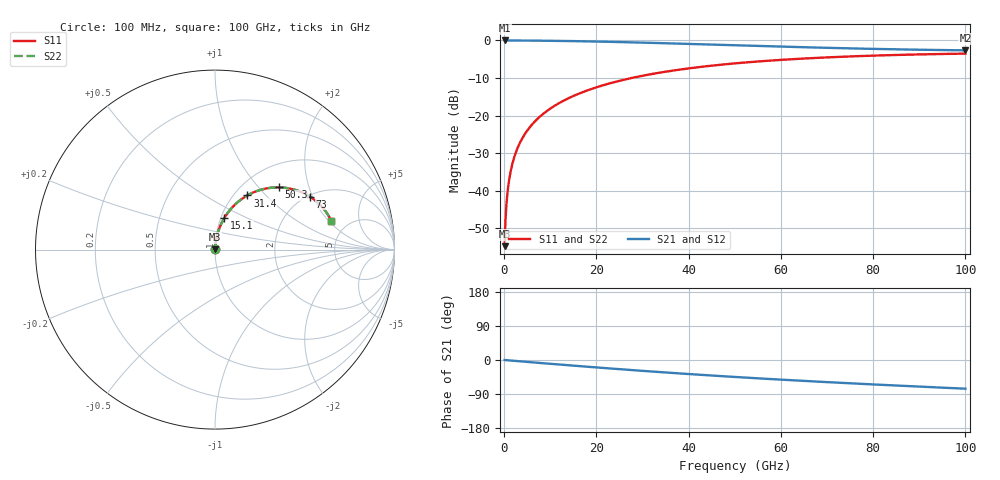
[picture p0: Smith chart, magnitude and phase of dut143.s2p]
! Touchstone file exported from HFSS 2026.1.0
!  File:  C:/ffzhzh/LocalFiles/Ansys_Project_Files/temp_train_RDL_143_1783499793_44152.aedt
!  Generated:  04:37:40 PM Jul  8, 2026
!  Design:  RDL
!  Project:  temp_train_RDL_143_1783499793_44152
! Variables:
!  h_bsmrdl = 2um
!  h_ox = 20um
!  h_rdl = 5um
!  h_sub = 80um
!  h_tmrdl = 4.14um
!  h_tsv = 80um
!  h_via = 3um
!  l_bsmrdl = 300um
!  l_sub = 610.83um
!  l_tmrdl = 210.83um
!  m_sub = 200um
!  pitch = 55.77um
!  r_tsv = 6um
!  s_tmrdl = 10um
!  w_bsmrdl = 18um
!  w_sub = 500um
!  w_tmrdl = 16.06um
!  x_tsv_center1 = 218.86um
!  x_tsv_center2 = 536.86um
!  x_tsv_center3 = 763.75um
!  x_tsv_center4 = 1081.75um
!  x_tsv_center5 = 1308.64um
!  x_tsv_center6 = 1626.64um
# GHz S MA R 50.000000
! Terminal data exported
! Port[1] = TM_RDL1_1_T1
! Port[2] = TM_RDL1_1_T2
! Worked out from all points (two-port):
!   1000 points, 100 MHz to 100 GHz, reference 50 ohm
!   highest |S21| = -0.01 dB at 100 MHz (marker M1); lowest = -2.6 dB at 100 GHz (marker M2)
!   |S21| within 3 dB of the highest: start of sweep to end of sweep
!   lowest |S11| = -54.7 dB at 100 MHz (marker M3), VSWR 1.00, Z = 50.1 + j0.134 ohm
!   |S11| at or under -10 dB: start of sweep to 27.62 GHz
!   |S22| runs from -54.7 to -3.5 dB; largest |S21 - S12| = 4.4e-15
!   S11 on the Smith chart (normalised r, x): 100 MHz: 1.00, +0.00; 15.1 GHz: 1.04, +0.38; 31.4 GHz: 1.15, +0.79; 50.3 GHz: 1.41, +1.30; 73 GHz: 2.05, +1.91; 100 GHz: 3.71, +2.14
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0.1  0.00184 46.4  0.9987 -0.1  0.9987 -0.1  0.00184 46.4
! Gamma 0 0 0 0
! Port Impedance 50 0 50 0
0.4  0.005413 74.8  0.9986 -0.4  0.9986 -0.4  0.005413 74.8
0.8  0.01043 81.1  0.9985 -0.8  0.9985 -0.8  0.01043 81.1
1  0.01295 82.3  0.9984 -1.0  0.9984 -1.0  0.01295 82.3
1.3  0.01675 83.4  0.9983 -1.3  0.9983 -1.3  0.01675 83.4
1.7  0.02182 84.0  0.9982 -1.7  0.9982 -1.7  0.02182 84.0
2.2  0.02816 84.3  0.9979 -2.3  0.9979 -2.3  0.02816 84.3
3.6  0.04581 83.8  0.9969 -3.7  0.9969 -3.7  0.04581 83.8
5.5  0.06947 82.3  0.995 -5.6  0.995 -5.6  0.06947 82.3
8  0.1 80.1  0.9918 -8.1  0.9918 -8.1  0.1 80.1
11.2  0.1383 77.2  0.9865 -11.2  0.9865 -11.2  0.1383 77.2
15.1  0.1835 73.6  0.9784 -15.0  0.9784 -15.0  0.1835 73.6
16.8  0.2027 72.0  0.9744 -16.6  0.9744 -16.6  0.2027 72.0
23.4  0.2739 66.1  0.9562 -22.8  0.9562 -22.8  0.2739 66.1
31.4  0.3519 59.1  0.9299 -29.9  0.9299 -29.9  0.3519 59.1
33.4  0.3698 57.4  0.9228 -31.6  0.9228 -31.6  0.3698 57.4
50.1  0.4956 44.4  0.8617 -44.8  0.8617 -44.8  0.4956 44.4
50.3  0.4969 44.2  0.8609 -45.0  0.8609 -45.0  0.4969 44.2
66.7  0.5816 33.1  0.8065 -56.3  0.8065 -56.3  0.5816 33.1
73  0.6057 29.1  0.7888 -60.3  0.7888 -60.3  0.6057 29.1
83.4  0.6368 23.0  0.7642 -66.5  0.7642 -66.5  0.6368 23.0
100  0.6674 13.8  0.7378 -75.7  0.7378 -75.7  0.6674 13.8
